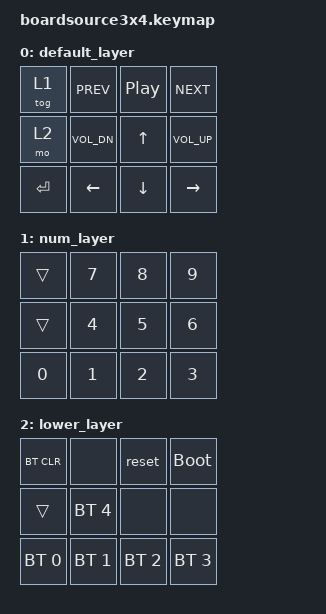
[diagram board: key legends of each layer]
/*
 * Copyright (c) 2020 The ZMK Contributors
 *
 * SPDX-License-Identifier: MIT
 */

#include <behaviors.dtsi>
#include <dt-bindings/zmk/keys.h>
#include <dt-bindings/zmk/bt.h>

/ {
    keymap {
        compatible = "zmk,keymap";

        default_layer {

            bindings = <
    &tog 1   &kp C_PREV   &kp C_PP &kp C_NEXT
    &mo 2    &kp C_VOL_DN &kp UP   &kp C_VOL_UP
    &kp RET  &kp LEFT     &kp DOWN &kp RIGHT
            >;

        };

        num_layer {
            bindings = <
    &trans   &kp N7 &kp N8 &kp N9
    &trans   &kp N4 &kp N5 &kp N6
    &kp N0 &kp N1 &kp N2 &kp N3
            >;
        };

        lower_layer {
            bindings = <
    &bt BT_CLR   &none        &reset       &bootloader
    &trans       &bt BT_SEL 4 &none        &none
    &bt BT_SEL 0 &bt BT_SEL 1 &bt BT_SEL 2 &bt BT_SEL 3
            >;
        };
    };
};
